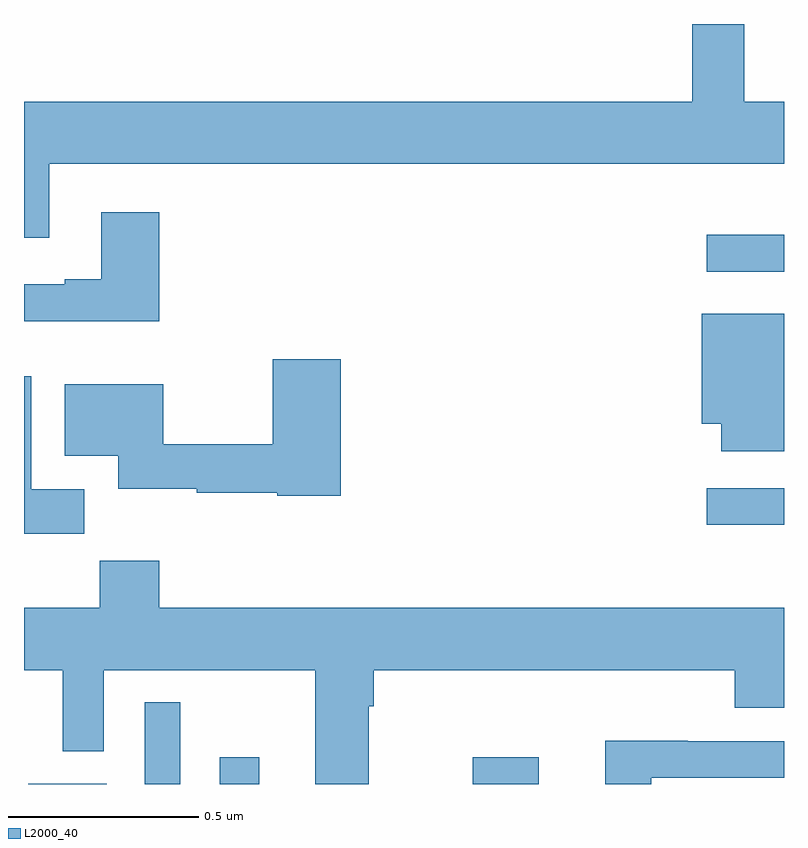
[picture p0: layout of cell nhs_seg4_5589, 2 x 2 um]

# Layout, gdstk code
import gdstk
lib = gdstk.Library(unit=1e-6, precision=1e-09)
def R(c, l, rs):  # rectangles x0, y0, x1, y1
    for r in rs: c.add(gdstk.rectangle(r[:2], r[2:], *l))
def P(c, l, *ps):  # polygons
    for p in ps: c.add(gdstk.Polygon(p, *l))
L2000_40 = (2000, 40)

nhs_seg4_5589 = lib.new_cell('nhs_seg4_5589')
R(nhs_seg4_5589, L2000_40, [(180.011,749.9,180.218,749.901), (180.318,749.9,180.411,750.115), (180.515,749.9,180.619,749.971), (181.181,749.9,181.354,749.971), (181.797,750.582,182,750.678), (181.797,751.248,182,751.346)])
P(nhs_seg4_5589, L2000_40, [(180.067,751.532),(182,751.532),(182,751.696),(181.895,751.696),(181.895,751.9),(181.759,751.9),(181.759,751.696),(180,751.696),(180,751.338),(180.067,751.338)],
  [(180.356,751.405),(180.203,751.405),(180.203,751.228),(180.107,751.228),(180.107,751.215),(180,751.215),(180,751.118),(180.356,751.118)],
  [(182,751.138),(181.784,751.138),(181.784,750.848),(181.835,750.848),(181.835,750.776),(182,750.776)],
  [(180.833,751.018),(180.655,751.018),(180.655,750.794),(180.366,750.794),(180.366,750.952),(180.107,750.952),(180.107,750.764),(180.248,750.764),(180.248,750.677),(180.454,750.677),(180.454,750.666),(180.666,750.666),(180.666,750.658),(180.833,750.658)],
  [(180.158,750.676),(180.019,750.676),(180.019,750.973),(180,750.973),(180,750.558),(180.158,750.558)],
  [(180.907,750.104),(180.92,750.104),(180.92,750.2),(181.871,750.2),(181.871,750.101),(182,750.101),(182,750.364),(180.356,750.364),(180.356,750.488),(180.199,750.488),(180.199,750.364),(180,750.364),(180,750.2),(180.102,750.2),(180.102,749.986),(180.21,749.986),(180.21,750.2),(180.767,750.2),(180.767,749.9),(180.907,749.9)],
  [(181.65,749.916),(182,749.916),(182,750.012),(181.747,750.012),(181.747,750.014),(181.529,750.014),(181.529,749.9),(181.65,749.9)])

lib.write_gds('nhs_seg4_5589.gds')
